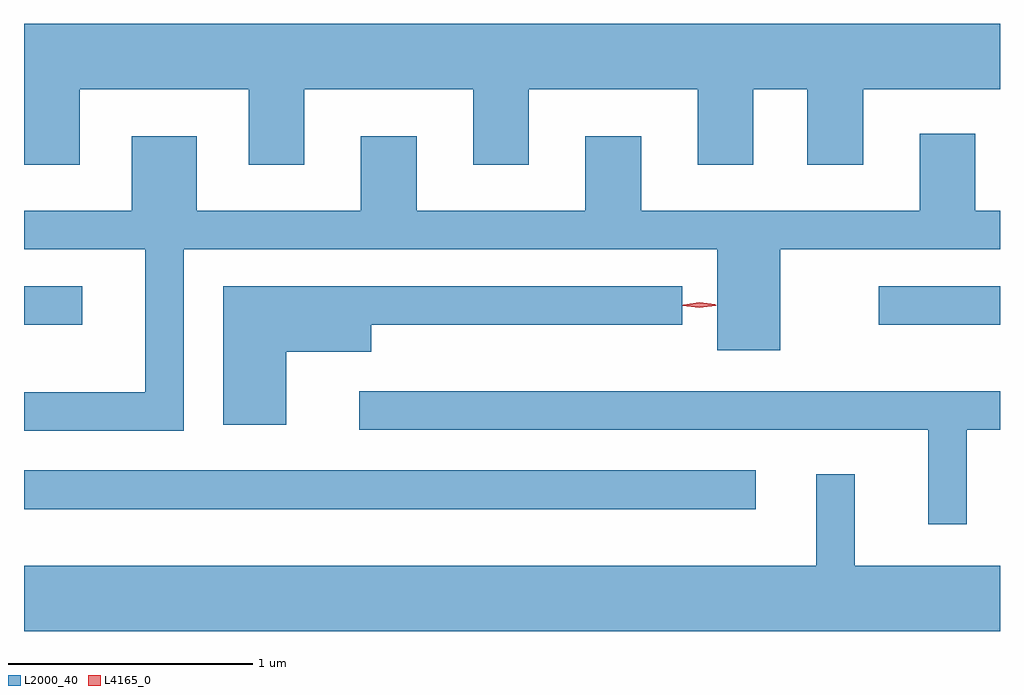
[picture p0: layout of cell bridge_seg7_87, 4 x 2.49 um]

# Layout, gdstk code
import gdstk
lib = gdstk.Library(unit=1e-6, precision=1e-09)
def R(c, l, rs):  # rectangles x0, y0, x1, y1
    for r in rs: c.add(gdstk.rectangle(r[:2], r[2:], *l))
def P(c, l, *ps):  # polygons
    for p in ps: c.add(gdstk.Polygon(p, *l))
L2000_40 = (2000, 40)
L4165_0 = (4165, 0)

bridge_seg7_87 = lib.new_cell('bridge_seg7_87')
R(bridge_seg7_87, L2000_40, [(1617.14,1790.296,1620.138,1790.454), (1617.14,1791.051,1617.378,1791.209), (1620.643,1791.051,1621.14,1791.209)])
P(bridge_seg7_87, L2000_40, [(1617.369,1792.016),(1618.061,1792.016),(1618.061,1791.706),(1618.289,1791.706),(1618.289,1792.016),(1618.981,1792.016),(1618.981,1791.706),(1619.209,1791.706),(1619.209,1792.016),(1619.901,1792.016),(1619.901,1791.706),(1620.129,1791.706),(1620.129,1792.016),(1620.351,1792.016),(1620.351,1791.706),(1620.579,1791.706),(1620.579,1792.016),(1621.14,1792.016),(1621.14,1792.284),(1617.14,1792.284),(1617.14,1792.016),(1617.141,1792.016),(1617.141,1791.706),(1617.369,1791.706)],
  [(1617.794,1791.361),(1619.981,1791.361),(1619.981,1790.946),(1620.239,1790.946),(1620.239,1791.361),(1621.14,1791.361),(1621.14,1791.519),(1621.039,1791.519),(1621.039,1791.834),(1620.811,1791.834),(1620.811,1791.519),(1619.669,1791.519),(1619.669,1791.824),(1619.441,1791.824),(1619.441,1791.519),(1618.749,1791.519),(1618.749,1791.824),(1618.521,1791.824),(1618.521,1791.519),(1617.849,1791.519),(1617.849,1791.824),(1617.581,1791.824),(1617.581,1791.519),(1617.14,1791.519),(1617.14,1791.361),(1617.636,1791.361),(1617.636,1790.774),(1617.14,1790.774),(1617.14,1790.616),(1617.794,1790.616)],
  [(1618.214,1790.941),(1618.564,1790.941),(1618.564,1791.051),(1619.838,1791.051),(1619.838,1791.209),(1617.956,1791.209),(1617.956,1790.641),(1618.214,1790.641)],
  [(1621.004,1790.621),(1621.14,1790.621),(1621.14,1790.779),(1618.513,1790.779),(1618.513,1790.621),(1620.846,1790.621),(1620.846,1790.233),(1621.004,1790.233)],
  [(1621.14,1790.064),(1620.544,1790.064),(1620.544,1790.438),(1620.386,1790.438),(1620.386,1790.064),(1617.14,1790.064),(1617.14,1789.796),(1621.14,1789.796)])
P(bridge_seg7_87, L4165_0, [(1619.908,1791.12),(1619.839,1791.13),(1619.839,1791.13),(1619.839,1791.131),(1619.908,1791.14),(1619.976,1791.131),(1619.977,1791.131),(1619.976,1791.13)],
  [(1619.908,1791.124),(1619.843,1791.132),(1619.842,1791.133),(1619.843,1791.133),(1619.908,1791.144),(1619.974,1791.135),(1619.974,1791.135),(1619.974,1791.134)])

lib.write_gds('bridge_seg7_87.gds')
